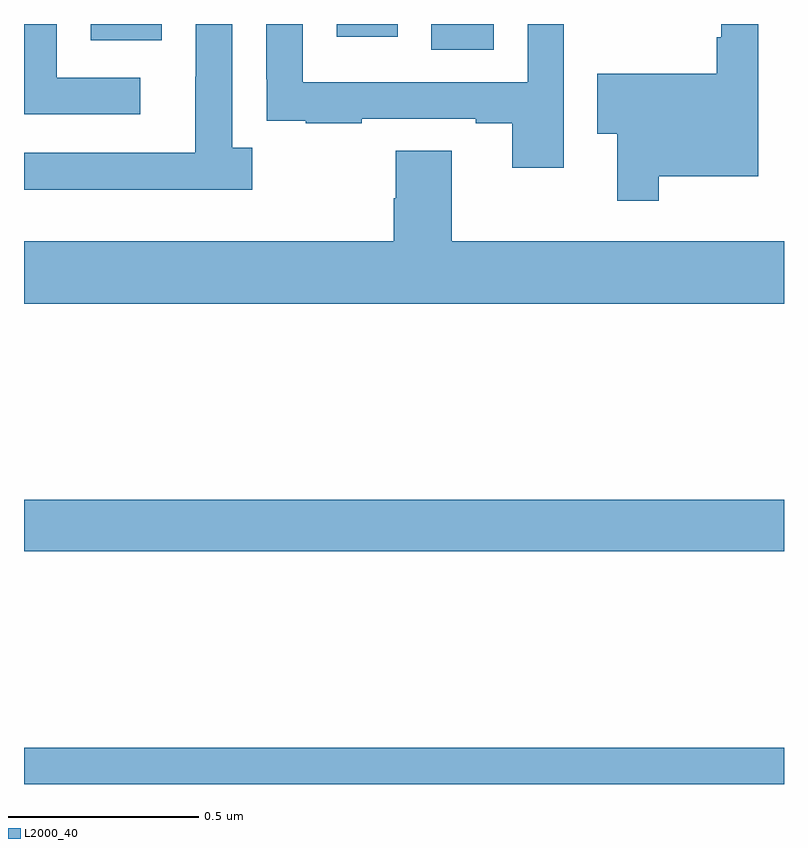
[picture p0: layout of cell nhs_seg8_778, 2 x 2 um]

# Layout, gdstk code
import gdstk
lib = gdstk.Library(unit=1e-6, precision=1e-09)
def R(c, l, rs):  # rectangles x0, y0, x1, y1
    for r in rs: c.add(gdstk.rectangle(r[:2], r[2:], *l))
def P(c, l, *ps):  # polygons
    for p in ps: c.add(gdstk.Polygon(p, *l))
L2000_40 = (2000, 40)

nhs_seg8_778 = lib.new_cell('nhs_seg8_778')
R(nhs_seg8_778, L2000_40, [(121,1117.9,123,1117.996), (121,1118.512,123,1118.648), (122.072,1119.832,122.236,1119.9), (121.175,1119.857,121.363,1119.9), (121.823,1119.867,121.984,1119.9)])
P(nhs_seg8_778, L2000_40, [(122.421,1119.9),(122.325,1119.9),(122.325,1119.747),(121.734,1119.747),(121.734,1119.9),(121.638,1119.9),(121.638,1119.754),(121.639,1119.754),(121.639,1119.645),(121.741,1119.645),(121.741,1119.639),(121.889,1119.639),(121.889,1119.651),(122.189,1119.651),(122.189,1119.639),(122.285,1119.639),(122.285,1119.522),(122.421,1119.522)],
  [(122.671,1119.5),(122.932,1119.5),(122.932,1119.9),(122.835,1119.9),(122.835,1119.865),(122.823,1119.865),(122.823,1119.769),(122.508,1119.769),(122.508,1119.611),(122.561,1119.611),(122.561,1119.435),(122.671,1119.435)],
  [(121.306,1119.759),(121.086,1119.759),(121.086,1119.9),(121,1119.9),(121,1119.663),(121.306,1119.663)],
  [(121.6,1119.574),(121.548,1119.574),(121.548,1119.9),(121.452,1119.9),(121.452,1119.761),(121.451,1119.761),(121.451,1119.561),(121,1119.561),(121,1119.464),(121.6,1119.464)],
  [(123,1119.328),(122.125,1119.328),(122.125,1119.566),(121.978,1119.566),(121.978,1119.441),(121.973,1119.441),(121.973,1119.328),(121,1119.328),(121,1119.164),(123,1119.164)])

lib.write_gds('nhs_seg8_778.gds')
